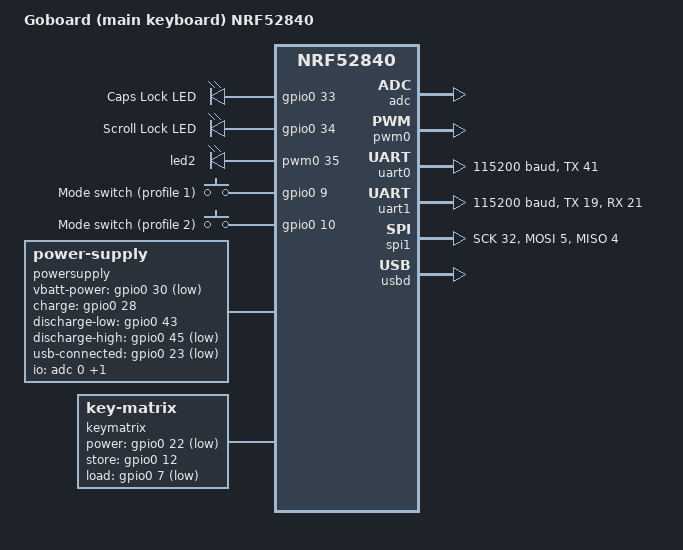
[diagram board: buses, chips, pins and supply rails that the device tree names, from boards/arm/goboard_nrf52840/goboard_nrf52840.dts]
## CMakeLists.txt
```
cmake_minimum_required(VERSION 3.18)

set(BOARD_ROOT ${CMAKE_CURRENT_LIST_DIR})
set(DTS_ROOT ${CMAKE_CURRENT_LIST_DIR})

find_package(Zephyr REQUIRED HINTS $ENV{ZEPHYR_BASE})
project(NONE)

set(CMAKE_CXX_FLAGS "${CMAKE_CXX_FLAGS} -std=c++17")
set(CMAKE_CXX_FLAGS  "${CMAKE_CXX_FLAGS} -Wall -Wextra")

set(SRC
	src/exception.hpp
	src/keys.cpp
	src/keys.hpp
	src/power_supply.cpp
	src/power_supply.hpp
	src/scan_code.hpp
)

if("${BOARD}" MATCHES "native_posix_64")
	# Testing-only files.
	set(SRC
		${SRC}
		src/main_testing.cpp
		src/tests.cpp
		src/tests.hpp
	)
else()
	# Device-only files.
	set(SRC
		${SRC}
		src/bluetooth.cpp
		src/bluetooth.hpp
		src/key_matrix.cpp
		src/key_matrix.hpp
		src/leds.cpp
		src/leds.hpp
		src/main.cpp
		src/mode_switch.cpp
		src/mode_switch.hpp
		src/power_supply_pins.hpp
		src/power_supply_pins.cpp
		src/unifying.hpp
		src/unifying.cpp
		src/unifying_radio.hpp
		src/unifying_radio.cpp
		src/usb.hpp
		src/usb.cpp
	)
endif()

target_sources(app PRIVATE ${SRC})
target_compile_options(app PRIVATE -Wno-missing-field-initializers)
```

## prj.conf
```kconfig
# Runtime

CONFIG_CPLUSPLUS=y
CONFIG_LIB_CPLUSPLUS=y
CONFIG_EXCEPTIONS=y
```

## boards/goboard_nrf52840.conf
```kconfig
# Runtime

CONFIG_NEWLIB_LIBC=y
CONFIG_SYSTEM_WORKQUEUE_STACK_SIZE=2048

# Power management

CONFIG_PM=y
CONFIG_PM_DEVICE=y
CONFIG_PM_DEVICE_IDLE=y

# I/O

CONFIG_GPIO=y
CONFIG_NFCT_PINS_AS_GPIOS=y
CONFIG_PWM=y
CONFIG_LED=y
CONFIG_LED_PWM=y
CONFIG_SPI=y
CONFIG_NRFX_SPI1=y
CONFIG_ADC=y

# Complex I/O

CONFIG_USB=y
CONFIG_USB_DEVICE_SOF=y
CONFIG_USB_DEVICE_HID=y
CONFIG_USB_DEVICE_REMOTE_WAKEUP=y
CONFIG_USB_HID_BOOT_PROTOCOL=y
CONFIG_USB_HID_BOOT_PROTOCOL=y

CONFIG_BT=y
CONFIG_BT_PERIPHERAL=y
# Minimum connection interval: 5ms
CONFIG_BT_PERIPHERAL_PREF_MIN_INT=4
# Maximum connection interval: 15ms
CONFIG_BT_PERIPHERAL_PREF_MIN_INT=12
CONFIG_BT_SMP=y
CONFIG_BT_SMP_SC_ONLY=y
CONFIG_BT_PRIVACY=y
CONFIG_BT_BONDING_REQUIRED=y
CONFIG_BT_BAS=y
CONFIG_BT_DEVICE_APPEARANCE=961
CONFIG_BT_DEVICE_NAME="Goboard"
CONFIG_BT_LL_SW_SPLIT=y
CONFIG_BT_SETTINGS=y

CONFIG_ESB=y

CONFIG_FLASH=y
CONFIG_FLASH_PAGE_LAYOUT=y
CONFIG_FLASH_MAP=y
CONFIG_MPU_ALLOW_FLASH_WRITE=y
CONFIG_NVS=y
CONFIG_SETTINGS=y

# Test VID/PID from pid.codes (https://pid.codes/1209/000A/) - this PID/VID pair
# is not unique and for testing only.
CONFIG_USB_DEVICE_VID=0x1209
CONFIG_USB_DEVICE_PID=0x000A
CONFIG_USB_DEVICE_MANUFACTURER="InstinctiveLlama"
CONFIG_USB_DEVICE_PRODUCT="Goboard"
```

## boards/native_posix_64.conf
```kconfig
# Testing

CONFIG_ZTEST=y
CONFIG_COVERAGE=y
```

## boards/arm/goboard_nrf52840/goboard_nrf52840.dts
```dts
/*
 * Copyright (c) 2017 Linaro Limited
 *
 * SPDX-License-Identifier: Apache-2.0
 */

/dts-v1/;
#include <nordic/nrf52840_qiaa.dtsi>

/ {
	model = "Goboard (main keyboard) NRF52840";
	compatible = "nordic,goboard-main-nrf52840";

	chosen {
		zephyr,console = &uart0;
		zephyr,shell-uart = &uart0;
		zephyr,sram = &sram0;
		zephyr,flash = &flash0;
		zephyr,code-partition = &slot0_partition;
	};

	aliases {
		caps-lock-led = &led0;
		scroll-lock-led = &led1;
		mode-pwm-led = &led2;
		modesw0 = &button0;
		modesw1 = &button1;
	};


	leds {
		compatible = "gpio-leds";
		led0: led_0 {
			gpios = <&gpio0 33 0>;
			label = "Caps Lock LED";
		};
		led1: led_1 {
			gpios = <&gpio0 34 0>;
			label = "Scroll Lock LED";
		};
	};

	pwmleds {
		compatible = "pwm-leds";
		led2: pwm_led_0 {
			pwms = <&pwm0 35>;
		};
	};

	buttons {
		compatible = "gpio-keys";
		button0: button_0 {
			gpios = <&gpio0 9 0>;
			label = "Mode switch (profile 1)";
		};
		button1: button_1 {
			gpios = <&gpio0 10 0>;
			label = "Mode switch (profile 2)";
		};
	};

	powersupply {
		compatible = "power-supply";
		io-channels = <&adc 0>, <&adc 7>;
		vbatt-output-ohms = <100000>;
		vbatt-full-ohms = <(100000 + 100000)>;
		vbatt-power-gpios = <&gpio0 30 GPIO_ACTIVE_LOW>;
		charge-gpios = <&gpio0 28 0>;
		discharge-low-gpios = <&gpio0 43 0>;
		discharge-high-gpios = <&gpio0 45 GPIO_ACTIVE_LOW>;
		usb-connected-gpios = <&gpio0 23 GPIO_ACTIVE_LOW>;
	};

	keymatrix {
		compatible = "key-matrix";
		spi = <&spi1>;
		power-gpios = <&gpio0 22 GPIO_ACTIVE_LOW>;
		store-gpios = <&gpio0 12 0>;
		load-gpios = <&gpio0 7 GPIO_ACTIVE_LOW>;
	};
};

&adc {
	status = "okay";
};

&gpiote {
	status = "okay";
};

&gpio0 {
	status = "okay";
};

&gpio1 {
	status = "okay";
};

&pwm0 {
	status = "okay";
	ch0-pin = <35>;
};

&uart0 {
	compatible = "nordic,nrf-uart";
	current-speed = <115200>;
	status = "okay";
	tx-pin = <41>;
};

&uart1 {
	compatible = "nordic,nrf-uart";
	current-speed = <115200>;
	status = "okay";
	tx-pin = <19>;
	rx-pin = <21>;
};

&spi1 {
	compatible = "nordic,nrf-spi";
	status = "okay";
	sck-pin = <32>;
	mosi-pin = <5>;
	miso-pin = <4>;
};

&flash0 {

	partitions {
		compatible = "fixed-partitions";
		#address-cells = <1>;
		#size-cells = <1>;

		boot_partition: partition@0 {
			label = "mcuboot";
			reg = <0x000000000 0x0000C000>;
		};
		slot0_partition: partition@c000 {
			label = "image-0";
			reg = <0x0000C000 0x00067000>;
		};
		slot1_partition: partition@73000 {
			label = "image-1";
			reg = <0x00073000 0x00067000>;
		};
		scratch_partition: partition@da000 {
			label = "image-scratch";
			reg = <0x000da000 0x0001e000>;
		};

		/*
		 * The flash starting at 0x000f8000 and ending at
		 * 0x000fffff is reserved for use by the application.
		 */

		/*
		 * Storage partition will be used by FCB/LittleFS/NVS
		 * if enabled.
		 */
		storage_partition: partition@f8000 {
			label = "storage";
			reg = <0x000f8000 0x00008000>;
		};
	};
};

&usbd {
	compatible = "nordic,nrf-usbd";
	status = "okay";
};
```

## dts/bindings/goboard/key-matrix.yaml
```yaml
description: |
    Goboard shift-register-based key matrix

compatible: "key-matrix"

include: base.yaml

properties:
    spi:
      type: phandle
      required: true
      description: |
        SPI to which the shift registers are connected.
    power-gpios:
      type: phandle-array
      required: true
      description: |
        GPIO which enables power to the key matrix.
    store-gpios:
      type: phandle-array
      required: true
      description: |
        GPIO which is used to load the row shift register's outputs.
    load-gpios:
      type: phandle-array
      required: true
      description: |
        GPIO which is used to load the column shift register's inputs.
```

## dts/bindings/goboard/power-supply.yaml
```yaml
# Copyright (c) 2019, Peter Bigot Consulting, LLC
# Copyright (c) 2021, Mathias Gottschlag
# SPDX-License-Identifier: Apache-2.0

description: |
    Goboard power supply circuitry

compatible: "power-supply"

include: base.yaml

properties:
    io-channels:
      type: phandle-array
      required: true
      description: |
        Battery voltage - the first array entry is the low-side battery, the
        second is the high-side battery.

    vbatt-output-ohms:
      type: int
      required: true
      description: |
        Resistance of the lower leg of the voltage divider

    vbatt-full-ohms:
      type: int
      required: true
      description: |
        Resistance of the full path through the voltage divider.

        If absent or zero the driver assumes that the upper leg is a
        resistance-based sensor.

    vbatt-power-gpios:
      type: phandle-array
      required: true
      description: |
        Control power to the voltage divider inputs.

        If present the corresponding GPIO must be set to an active level
        to enable the divider input.

    charge-gpios:
      type: phandle-array
      required: true
      description: |
        Charge the batteries.

    discharge-low-gpios:
      type: phandle-array
      required: true
      description: |
        Discharge the first (low, connected to GND) battery.

    discharge-high-gpios:
      type: phandle-array
      required: true
      description: |
        Discharge the second (high, connected to VBATT) battery.

    usb-connected-gpios:
      type: phandle-array
      required: true
      description: |
        Input which can be used to detect whether USB is connected.
```

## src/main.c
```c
/**
 * @mainpage GoBoard USB/Wireless Keyboard
 *
 * This project implements the firmware for the main keyboard PCB. The firmware
 * implements an [USB keyboard](@ref usb) as well as two wireless keyboard
 * configurations, selectable with a [mode switch](@ref mode_switch).
 *
 * See the [list of modules](modules.html) for documentation of the different
 * parts of the firmware.
 */

#include "keys.h"
#include "mode_led.h"
#include "mode_switch.h"
#include "power_supply.h"
#include "usb.h"
#include "unifying.h"

#include "app_scheduler.h"
#include "app_timer.h"
#include "nrf_crypto.h"
#include "nrf_drv_clock.h"
#include "nrf_drv_gpiote.h"
#include "nrf_log.h"
#include "nrf_log_ctrl.h"
#include "nrf_log_default_backends.h"
#include "nrf_pwr_mgmt.h"

#define SCHED_MAX_EVENT_DATA_SIZE APP_TIMER_SCHED_EVENT_DATA_SIZE
#define SCHED_QUEUE_SIZE 20

/* TODO: mode LED */

/*
 * mode LED states:
 * - off: keyboard off
 * - on: keyboard connected or charging
 * - slow blinking: not connected
 * - fast blinking: pairing
 */

static enum mode_switch_mode current_mode;

static void basic_init(void) {
	ret_code_t ret;

	ret = NRF_LOG_INIT(NULL);
	APP_ERROR_CHECK(ret);
	NRF_LOG_DEFAULT_BACKENDS_INIT();

	ret = nrf_drv_clock_init();
	APP_ERROR_CHECK(ret);
	nrf_drv_clock_lfclk_request(NULL);
	while (!nrf_drv_clock_lfclk_is_running()) {}
	nrf_drv_clock_hfclk_request(NULL);
	while (!nrf_drv_clock_hfclk_is_running()) {}

	ret = app_timer_init();
	APP_ERROR_CHECK(ret);

	ret = nrf_pwr_mgmt_init();
	APP_ERROR_CHECK(ret);

	ret = nrf_drv_gpiote_init();
	APP_ERROR_CHECK(ret);

	APP_SCHED_INIT(SCHED_MAX_EVENT_DATA_SIZE, SCHED_QUEUE_SIZE);
}

/**
 * Switches the device to "System OFF" mode.
 *
 * This function does not ensure that all peripherals are in a state where they
 * can wake the system up again.
 */
static void switch_off(void) {
	NRF_LOG_INFO("switching off");
	power_supply_prepare_system_off();
	mode_switch_prepare_system_off();
	mode_led_prepare_system_off();
	nrf_pwr_mgmt_shutdown(NRF_PWR_MGMT_SHUTDOWN_GOTO_SYSOFF);
}

static void reset(void) {
	nrf_pwr_mgmt_shutdown(NRF_PWR_MGMT_SHUTDOWN_RESET);
}

static void check_power_off_reset(void) {
	enum power_supply_mode ps = power_supply_get_mode();
	enum mode_switch_mode mode = mode_switch_get();

	/* we should power off if the battery is low and we are not charging */
	if (ps == POWER_SUPPLY_LOW) {
		switch_off();
	}
	/* we should power off if the mode is off/USB and USB is not connected */
	if (mode == MODE_SWITCH_OFF_USB && !usb_is_connected()) {
		switch_off();
	}
	/* we should reset if the mode changed between USB and bluetooth */
	if (current_mode == MODE_SWITCH_OFF_USB && mode != MODE_SWITCH_OFF_USB) {
		reset();
	}
	if (current_mode != MODE_SWITCH_OFF_USB && mode == MODE_SWITCH_OFF_USB) {
		reset();
	}
}

static void update_mode_led(void) {
	/* TODO: check USB/bluetooth connection and pairing state */
	if (mode_switch_get() == MODE_SWITCH_BT1 ||
			mode_switch_get() == MODE_SWITCH_BT2) {
		mode_led_set(MODE_LED_CONNECTED);
	} else if (power_supply_get_mode() == POWER_SUPPLY_CHARGING) {
		mode_led_set(MODE_LED_CHARGING);
	}

}

static void on_power_supply_state_change(void) {
	check_power_off_reset();

	/* report the new battery charge via bluetooth */
	/* TODO */

	update_mode_led();
}

static void on_mode_switch_change(void) {
	check_power_off_reset();

	/* if we just switched between the two bluetooth device sets, we need to
	 * notify the bluetooth keyboard code */
	/* TODO */

	update_mode_led();
}

/**
 * Main entry point of the firmware.
 */
int main(void) {
	ret_code_t ret;

	basic_init();
	NRF_LOG_INFO("goboard starting");

	/* initialize power supply and mode switch - we need to initialize at
	 * least everything here that is required to wake up again */
	power_supply_init(on_power_supply_state_change);
	mode_switch_init(on_mode_switch_change);
	/* we need the current mode to be valid during check_power_off_reset()
	 * already */
	current_mode = mode_switch_get();

	check_power_off_reset();

	/* initialize everything else */
	mode_led_init();
	update_mode_led();
	keys_init();

	ret = nrf_crypto_init();
	APP_ERROR_CHECK(ret);
	unifying_init();
#if 0
	key_matrix_init();
	/* TODO */

	for (;;) {
		usb_poll();
		app_sched_execute();
		if (NRF_LOG_PROCESS() == false) {
			nrf_pwr_mgmt_run();
		}
	}
#endif
	for (;;) {
		app_sched_execute();
		if (NRF_LOG_PROCESS() == false) {
			nrf_pwr_mgmt_run();
		}
	}
}
```

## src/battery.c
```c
#include "battery.h"

void battery_init(void) {
	/* TODO */
}

int battery_is_low(void) {
	/* TODO */
	return 0;
}

void battery_prepare_system_off(void) {
	/* TODO */
}
```

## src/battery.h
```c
#ifndef BATTERY_H_INCLUDED
#define BATTERY_H_INCLUDED

void battery_init(void);
int battery_is_low(void);
void battery_prepare_system_off(void);

#endif
```

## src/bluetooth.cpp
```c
#include "bluetooth.hpp"

#include "exception.hpp"

#include <bluetooth/bluetooth.h>
#include <bluetooth/hci.h>
#include <bluetooth/conn.h>
#include <bluetooth/gatt.h>
#include <settings/settings.h>

BluetoothKeyboard::BluetoothKeyboard(Keys<KeyMatrix> *keys, Leds *leds):
		keys(keys), leds(leds) {

	// Enable bluetooth.
	if (bt_enable(static_on_bt_ready) != 0) {
		throw InitializationFailed("bt_enable failed");
	}

	bt_conn_cb_register(&conn_callbacks);
	// TODO
}

BluetoothKeyboard::~BluetoothKeyboard() {
	// TODO
}

KeyboardProfile BluetoothKeyboard::get_profile() {
	// TODO
	return PROFILE_1;
}

void BluetoothKeyboard::set_profile(KeyboardProfile profile) {
	// If we are currently advertising, we need to stop.
	// TODO

	// TODO
	(void)profile;
}

void BluetoothKeyboard::static_on_bt_ready(int err) {
	// TODO
	(void)err;

	// We only use one identity for the two profiles. Devices for the
	// inactive profile stay connected. The identity needs to be persistent,
	// so we load it here and, if none was loaded, create a new random
	// identity.
	settings_load();
	size_t addr_count = 0;
	bt_id_get(NULL, &addr_count);
	printk("%d BT addresses\n", addr_count);
	if (addr_count == 0) {
		// TODO: Error checking?
		bt_id_create(NULL, NULL);
	}
	bt_addr_le_t addr = { .type = 0 };
	addr_count = 1;
	bt_id_get(&addr, &addr_count);
	printk("address: %d/%02x:%02x:%02x:%02x:%02x:%02x\n",
	       addr.type,
	       addr.a.val[0],
	       addr.a.val[1],
	       addr.a.val[2],
	       addr.a.val[3],
	       addr.a.val[4],
	       addr.a.val[5]);

	// TODO
}
void BluetoothKeyboard::static_on_connected(struct bt_conn *conn,
                                            uint8_t err) {
	(void)conn;
	(void)err;
	// TODO
}

void BluetoothKeyboard::static_on_disconnected(struct bt_conn *conn,
                                               uint8_t reason) {
	(void)conn;
	(void)reason;
	// TODO
}

void BluetoothKeyboard::static_on_security_changed(struct bt_conn *conn,
                                                   bt_security_t level,
                                                   enum bt_security_err err) {
	(void)conn;
	(void)level;
	(void)err;
	// TODO
}

BluetoothKeyboard *BluetoothKeyboard::instance = NULL;
```

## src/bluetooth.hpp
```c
#ifndef BLUETOOTH_HPP_INCLUDED
#define BLUETOOTH_HPP_INCLUDED

#include "mode_switch.hpp"
#include "key_matrix.hpp"
#include "keys.hpp"

#include <bluetooth/bluetooth.h>
#include <bluetooth/conn.h>

class Leds;

/// Bluetooth HIDS keyboard implementation.
class BluetoothKeyboard {
public:
	BluetoothKeyboard(Keys<KeyMatrix> *keys, Leds *leds);
	~BluetoothKeyboard();

	KeyboardProfile get_profile();
	void set_profile(KeyboardProfile profile);
private:
	static void static_on_bt_ready(int err);
	static void static_on_connected(struct bt_conn *conn,
	                                uint8_t err);
	static void static_on_disconnected(struct bt_conn *conn,
	                                   uint8_t reason);
	static void static_on_security_changed(struct bt_conn *conn,
	                                       bt_security_t level,
	                                       enum bt_security_err err);

	Keys<KeyMatrix> *keys;
	Leds *leds;

	// There can only be one instance of the BT keyboard, and the BT
	// callbacks need a pointer to it.
	static BluetoothKeyboard *instance;

	struct bt_conn_cb conn_callbacks = {
		.connected = static_on_connected,
		.disconnected = static_on_disconnected,
		.security_changed = static_on_security_changed,
	};
};

#endif
```

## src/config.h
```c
/**
 * @defgroup config Keyboard configuration.
 * @addtogroup config
 * Various settings to configure the keyboard's behavior.
 * @{
 */
#ifndef CONFIG_H_INCLUDED
#define CONFIG_H_INCLUDED

#include "mode_switch.h"

/**
 * If 1, the code assumes a simple prototype setup with just one key.
 */
#define CONFIG_TEST_SETUP 0
/**
 * If 1, the code assumes that a numpad can be connected.
 */
#define CONFIG_NUMPAD 1

/**
 * Configuration which is selected by the first switch position.
 */
#define CONFIG_FIRST_PROFILE MODE_SWITCH_UNIFYING1
/**
 * Configuration which is selected by the second switch position.
 */
#define CONFIG_SECOND_PROFILE MODE_SWITCH_BT1

#endif
/**
 * @}
 */
```

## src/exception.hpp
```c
#ifndef EXCEPTION_HPP_INCLUDED
#define EXCEPTION_HPP_INCLUDED

class Exception {
public:
	virtual ~Exception() {}

	virtual const char *what() = 0;
};

class InvalidState: Exception {
public:
	InvalidState(const char *message): _message(message) {}

	virtual const char *what() {
		return _message;
	}
private:
	const char *_message;
};

class InitializationFailed: Exception {
public:
	InitializationFailed(const char *message): _message(message) {}

	virtual const char *what() {
		return _message;
	}
private:
	const char *_message;
};

class Unimplemented: Exception {
public:
	Unimplemented(const char *message): _message(message) {}

	virtual const char *what() {
		return _message;
	}
private:
	const char *_message;
};

class HardwareError: Exception {
public:
	HardwareError(const char *message): _message(message) {}

	virtual const char *what() {
		return _message;
	}
private:
	const char *_message;
};

#endif
```

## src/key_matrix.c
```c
#include "key_matrix.h"

#include "nrf_drv_timer.h"
#include "nrf_gpio.h"
#include "nrf_ringbuf.h"
#include "app_usbd_hid_kbd.h"

#define KEY_POLL_INTERVAL_MS 1

#define TEST_KEY NRF_GPIO_PIN_MAP(1, 2)
static int test_key_state = 0;

const nrf_drv_timer_t KEY_TIMER = NRF_DRV_TIMER_INSTANCE(0);
NRF_RINGBUF_DEF(key_events, 512);

static void key_matrix_poll(void) {
	int new_state = nrf_gpio_pin_read(TEST_KEY);

	CRITICAL_REGION_ENTER();
	if (new_state != test_key_state) {
		/* write the data to the ring buffer */
		const struct key_event event = {
			.modifiers = 0,
			.key = APP_USBD_HID_KBD_X,
			.pressed = new_state,
		};
		size_t length = sizeof(event);
		nrf_ringbuf_cpy_put(&key_events, (const unsigned char*)&event, &length);
		if (length == sizeof(event)) {
			/* only overwrite the global state variable if writing
			 * to the buffer was successful */
			test_key_state = new_state;
		} else if (length != 0) {
			/* this should never happen, all sizes are powers of
			 * two! */
			APP_ERROR_CHECK_BOOL(0);
		}
	}
	CRITICAL_REGION_EXIT();
}

static void key_timer_handler(nrf_timer_event_t event_type, void *context) {
	(void)context;
	switch (event_type) {
		case NRF_TIMER_EVENT_COMPARE0:
			key_matrix_poll();
			break;
		default:
			break;
	}
}

void key_matrix_init(void) {
	ret_code_t ret;
	nrf_drv_timer_config_t timer_cfg = NRF_DRV_TIMER_DEFAULT_CONFIG;
	uint32_t time_ticks;

	nrf_ringbuf_init(&key_events);

	/* initialize SPI */
	/* TODO */
	nrf_gpio_cfg_input(TEST_KEY, NRF_GPIO_PIN_PULLUP);

	/* we want to poll the key matrix periodically using a timer */
	/*ret = nrf_drv_timer_init(&KEY_TIMER, &timer_cfg, key_timer_handler);
	APP_ERROR_CHECK(ret);

	time_ticks = nrf_drv_timer_ms_to_ticks(&KEY_TIMER, KEY_POLL_INTERVAL_MS);
	nrf_drv_timer_extended_compare(&KEY_TIMER,
	                               NRF_TIMER_CC_CHANNEL0,
	                               time_ticks,
	                               NRF_TIMER_SHORT_COMPARE0_CLEAR_MASK,
	                               true);

	nrf_drv_timer_enable(&KEY_TIMER);*/
}

size_t key_matrix_read(struct key_event *buffer, size_t length) {
	length = length * sizeof(struct key_event);
	nrf_ringbuf_cpy_get(&key_events, (unsigned char*)buffer, &length);
	return length / sizeof(struct key_event);
}
void key_matrix_reset(void) {
	unsigned char buffer[8];
	size_t length;

	CRITICAL_REGION_ENTER();

	/* reset the assumed keyboard state so that we get new events for keys
	 * that are already pressed */
	/* TODO */
	test_key_state = 0;

	/* empty the ring buffer to discard outdated events */
	for (;;) {
		length = sizeof(buffer);
		nrf_ringbuf_cpy_get(&key_events, buffer, &length);
		if (length == 0) {
			break;
		}
	}

	CRITICAL_REGION_EXIT();
}
```

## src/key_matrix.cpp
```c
#include "key_matrix.hpp"

#include "exception.hpp"

#define KEY_MATRIX DT_PATH(keymatrix)

#define SPI DT_PHANDLE(KEY_MATRIX, spi)
#define SPI_LABEL DT_PROP(SPI, label)

#define POWER_LABEL DT_GPIO_LABEL(KEY_MATRIX, power_gpios)
#define POWER_PIN DT_GPIO_PIN(KEY_MATRIX, power_gpios)
#define POWER_FLAGS DT_GPIO_FLAGS(KEY_MATRIX, power_gpios)

#define LOAD_LABEL DT_GPIO_LABEL(KEY_MATRIX, load_gpios)
#define LOAD_PIN DT_GPIO_PIN(KEY_MATRIX, load_gpios)
#define LOAD_FLAGS DT_GPIO_FLAGS(KEY_MATRIX, load_gpios)

#define STORE_LABEL DT_GPIO_LABEL(KEY_MATRIX, store_gpios)
#define STORE_PIN DT_GPIO_PIN(KEY_MATRIX, store_gpios)
#define STORE_FLAGS DT_GPIO_FLAGS(KEY_MATRIX, store_gpios)

KeyMatrix::KeyMatrix() {
	// Initialize the GPIOs.
	power_gpio = init_output_gpio(POWER_LABEL,
	                              POWER_PIN,
	                              POWER_FLAGS);
	gpio_pin_set(power_gpio, POWER_PIN, false);
	load_gpio = init_output_gpio(LOAD_LABEL,
	                             LOAD_PIN,
	                             LOAD_FLAGS);
	gpio_pin_set(load_gpio, LOAD_PIN, false);
	store_gpio = init_output_gpio(STORE_LABEL,
	                             STORE_PIN,
	                             STORE_FLAGS);
	gpio_pin_set(store_gpio, STORE_PIN, false);

	// Initialize SPI.
	spi_dev = device_get_binding(SPI_LABEL);
	if (spi_dev == NULL) {
		throw InitializationFailed("SPI not found");
	}
}

KeyMatrix::~KeyMatrix() {
	gpio_pin_set(load_gpio, LOAD_PIN, false);
	gpio_pin_set(store_gpio, STORE_PIN, false);
}


void KeyMatrix::enable() {
	gpio_pin_set(power_gpio, POWER_PIN, true);
	// We need to wait for some time to make sure that all the capacitance
	// is charged.
	// TODO: Correct time constant?
	k_sleep(K_MSEC(2));
}

void KeyMatrix::disable() {
	gpio_pin_set(power_gpio, POWER_PIN, false);
}

void KeyMatrix::select_row() {
	gpio_pin_set(store_gpio, STORE_PIN, true);
	k_sleep(K_USEC(1));
	gpio_pin_set(store_gpio, STORE_PIN, false);
	k_sleep(K_USEC(1));
}

void KeyMatrix::load_input() {
	gpio_pin_set(load_gpio, LOAD_PIN, true);
	k_sleep(K_USEC(1));
	gpio_pin_set(load_gpio, LOAD_PIN, false);
	k_sleep(K_USEC(1));
}

uint16_t KeyMatrix::transfer(uint8_t out) {
	uint16_t in = 0;
	struct spi_buf buf = {
		.buf = &in,
		.len = sizeof(in),
	};
	struct spi_buf_set buf_set = {
		.buffers = &buf,
		.count = 1,
	};
	if (spi_read(spi_dev, &READ_SPI_CFG, &buf_set) != 0) {
		throw HardwareError("spi_read failed");
	}
	// The row selection lines are active-low.
	out = ~out << 1;
	buf.buf = &out;
	buf.len = sizeof(out);
	if (spi_write(spi_dev, &WRITE_SPI_CFG, &buf_set) != 0) {
		throw HardwareError("spi_write failed");
	}
	// The keys are active-low.
	in = ~in;
	return (in >> 8) | (in << 8);
}

// TODO: This code should be deduplicated, a copy can be found in
// power_supply_pins.cpp.
const struct device *KeyMatrix::init_output_gpio(const char *label,
                                                 gpio_pin_t pin,
                                                 gpio_flags_t flags) {
	const struct device *gpio = device_get_binding(label);
	if (gpio == NULL) {
		throw InitializationFailed("GPIO not found");
	}
	if (gpio_pin_configure(gpio, pin,
	                       GPIO_OUTPUT_INACTIVE | flags) != 0) {
		throw InitializationFailed("gpio_pin_configure failed");
	}

	return gpio;
}

const struct spi_config KeyMatrix::READ_SPI_CFG = {
	.frequency = 2000000,
	.operation = SPI_OP_MODE_MASTER |
	             SPI_MODE_CPOL |
	             SPI_TRANSFER_MSB |
	             SPI_WORD_SET(8),
	.slave = 0,
	.cs = NULL,
};

const struct spi_config KeyMatrix::WRITE_SPI_CFG = {
	.frequency = 2000000,
	.operation = SPI_OP_MODE_MASTER |
	             SPI_MODE_CPOL |
	             SPI_MODE_CPHA |
	             SPI_TRANSFER_MSB |
	             SPI_WORD_SET(8),
	.slave = 0,
	.cs = NULL,
};
```

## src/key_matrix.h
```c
/**
 * @defgroup key_matrix Key Matrix
 * @addtogroup key_matrix
 * Key matrix polling and debouncing.
 * @{
 */
#ifndef KEY_MATRIX_H_INCLUDED
#define KEY_MATRIX_H_INCLUDED

#include <stdint.h>
#include <stddef.h>


/**
 * Single key event.
 *
 * The buffer code in key_matrix.c assumes that the size of this struct is a
 * power of two.
 */
struct key_event {
	uint8_t modifiers;
	uint8_t key;
	uint16_t pressed;
};

void key_matrix_init(void);

size_t key_matrix_read(struct key_event *buffer, size_t length);
void key_matrix_reset(void);


#endif
/**
 * @}
 */
```

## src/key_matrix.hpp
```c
#ifndef KEY_MATRIX_HPP_INCLUDED
#define KEY_MATRIX_HPP_INCLUDED

#include <stdint.h>

#include <drivers/gpio.h>
#include <drivers/spi.h>

/// Class which reads the key matrix via shift registers.
class KeyMatrix {
public:
	KeyMatrix();
	~KeyMatrix();

	/// Enables the key matrix.
	///
	/// This function enables power to the key matrix. The following core
	/// must not assume any specific (serial) value of the shift registers
	/// and should immediately call `transfer()` and `select_row()` to
	/// select zero or one rows.
	void enable();

	/// Disables the key matrix and removes power from the shift registers.
	void disable();

	/// Serial-to-parallel operation on the row selection shift register.
	void select_row();

	/// Parallel-to-serial operation on the input shift registers.
	void load_input();

	/// SPI operation which writes the specified data into the row selection
	/// shift register and returns the data from the input shift registers.
	uint16_t transfer(uint8_t out);
private:
	static const struct device *init_output_gpio(const char *label,
	                                             gpio_pin_t pin,
	                                             gpio_flags_t flags);

	const struct device *power_gpio;
	const struct device *load_gpio;
	const struct device *store_gpio;

	const struct device *spi_dev;
	static const struct spi_config READ_SPI_CFG;
	static const struct spi_config WRITE_SPI_CFG;
};

#endif
```

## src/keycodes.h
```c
/**
 * @defgroup keycodes Key Codes
 * @addtogroup keycodes
 * Keycodes for USB HID.
 * @{
 */
#ifndef KEYCODES_H_INCLUDED
#define KEYCODES_H_INCLUDED

/**
 * Modifier bits in the HID modified byte.
 */
enum modifier_key {
	/** Left control key. */
	KEY_MOD_LCTRL = 0x1,
	/** Left shift key. */
	KEY_MOD_LSHIFT = 0x2,
	/** Left alt key. */
	KEY_MOD_LALT = 0x4,
	/** Left meta key. */
	KEY_MOD_LMETA = 0x8,
	/** Right control key. */
	KEY_MOD_RCTRL = 0x10,
	/** Right shift key. */
	KEY_MOD_RSHIFT = 0x20,
	/** Right alt key. */
	KEY_MOD_RALT = 0x40,
	/** Right meta key. */
	KEY_MOD_RMETA = 0x80
};

/**
 * HID key scan codes.
 */
enum key_code {
	KEY_A = 0x4,
	KEY_B = 0x5,
	KEY_C = 0x6,
	KEY_D = 0x7,
	KEY_E = 0x8,
	KEY_F = 0x9,
	KEY_G = 0xa,
	KEY_H = 0xb,
	KEY_I = 0xc,
	KEY_J = 0xd,
	KEY_K = 0xe,
	KEY_L = 0xf,
	KEY_M = 0x10,
	KEY_N = 0x11,
	KEY_O = 0x12,
	KEY_P = 0x13,
	KEY_Q = 0x14,
	KEY_R = 0x15,
	KEY_S = 0x16,
	KEY_T = 0x17,
	KEY_U = 0x18,
	KEY_V = 0x19,
	KEY_W = 0x1a,
	KEY_X = 0x1b,
	KEY_Y = 0x1c,
	KEY_Z = 0x1d,
	KEY_1 = 0x1e,
	KEY_2 = 0x1f,
	KEY_3 = 0x20,
	KEY_4 = 0x21,
	KEY_5 = 0x22,
	KEY_6 = 0x23,
	KEY_7 = 0x24,
	KEY_8 = 0x25,
	KEY_9 = 0x26,
	KEY_0 = 0x27,
	KEY_RETURN = 0x28,
	KEY_ESCAPE = 0x29,
	KEY_BACKSPACE = 0x2a,
	KEY_TAB = 0x2b,
	KEY_SPACE = 0x2c,
	KEY_MINUS = 0x2d,
	KEY_EQUAL = 0x2e,
	KEY_LEFT_BRACKET = 0x2f,
	KEY_RIGHT_BRACKET = 0x30,
	KEY_BACKSLASH = 0x31,
	KEY_INT2 = 0x32, /* # and ~ */
	KEY_SEMICOLON = 0x33,
	KEY_QUOTE = 0x34,
	KEY_GRAVE = 0x35,
	KEY_COMMA = 0x36,
	KEY_PERIOD = 0x37,
	KEY_SLASH = 0x38,
	KEY_CAPS_LOCK = 0x39,
	KEY_F1 = 0x3a,
	KEY_F2 = 0x3b,
	KEY_F3 = 0x3c,
	KEY_F4 = 0x3d,
	KEY_F5 = 0x3e,
	KEY_F6 = 0x3f,
	KEY_F7 = 0x40,
	KEY_F8 = 0x41,
	KEY_F9 = 0x42,
	KEY_F10 = 0x43,
	KEY_F11 = 0x44,
	KEY_F12 = 0x45,
	KEY_PRINT = 0x46,
	KEY_SCROLL_LOCK = 0x47,
	KEY_PAUSE = 0x48,
	KEY_INSERT = 0x49,
	KEY_HOME = 0x4a,
	KEY_PAGE_UP = 0x4b,
	KEY_DELETE = 0x4c,
	KEY_END = 0x4d,
	KEY_PAGE_DOWN = 0x4e,
	KEY_RIGHT = 0x4f,
	KEY_LEFT = 0x50,
	KEY_DOWN = 0x51,
	KEY_UP = 0x52,
	KEY_NUM_LOCK = 0x53,
	KEY_KP_SLASH = 0x54,
	KEY_KP_ASTERISK = 0x55,
	KEY_KP_MINUS = 0x56,
	KEY_KP_PLUS = 0x57,
	KEY_KP_ENTER = 0x58,
	KEY_KP_1 = 0x59,
	KEY_KP_2 = 0x5a,
	KEY_KP_3 = 0x5b,
	KEY_KP_4 = 0x5c,
	KEY_KP_5 = 0x5d,
	KEY_KP_6 = 0x5e,
	KEY_KP_7 = 0x5f,
	KEY_KP_8 = 0x60,
	KEY_KP_9 = 0x61,
	KEY_KP_0 = 0x62,
	KEY_KP_PERIOD = 0x63,
	KEY_KP_INT1 = 0x64,
	KEY_APPLICATION = 0x65,
	KEY_POWER = 0x66,
	KEY_KP_EQUALS = 0x67,
	KEY_F13 = 0x68,
	KEY_F14 = 0x69,
	KEY_F15 = 0x6a,
	KEY_F16 = 0x6b,
	KEY_F17 = 0x6c,
	KEY_F18 = 0x6d,
	KEY_F19 = 0x6e,
	KEY_F20 = 0x6f,
	KEY_F21 = 0x70,
	KEY_F22 = 0x71,
	KEY_F23 = 0x72,
	KEY_F24 = 0x73,
	KEY_EXECUTE = 0x74,
	KEY_HELP = 0x75,
	KEY_UNDO = 0x7a,
	KEY_CUT = 0x7b,
	KEY_COPY = 0x7c,
	KEY_PASTE = 0x7d,
	KEY_MUTE = 0x7f,
	KEY_VOLUME_UP = 0x80,
	KEY_VOLUME_DOWN = 0x81,

	KEY_LCTRL = 0xe0,
	KEY_LSHIFT = 0xe1,
	KEY_LALT = 0xe2,
	KEY_LMETA = 0xe3,
	KEY_RCTRL = 0xe4,
	KEY_RSHIFT = 0xe5,
	KEY_RALT = 0xe6,
	KEY_RMETA = 0xe7,
};

#endif
/**
 * @}
 */
```

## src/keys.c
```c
#include "keys.h"

#include "app_timer.h"
#include "nrf_gpio.h"
#include "nrf_drv_spi.h"

#include <string.h>

#ifdef TEST_SETUP

#define TEST_KEY NRF_GPIO_PIN_MAP(1, 2)

#else

#define SPI_SCK_PIN NRF_GPIO_PIN_MAP(1, 0)
#define SPI_MISO_PIN NRF_GPIO_PIN_MAP(0, 4)
#define SPI_MOSI_PIN NRF_GPIO_PIN_MAP(0, 5)
#define LOAD_PIN NRF_GPIO_PIN_MAP(0, 7)
#define STORE_PIN NRF_GPIO_PIN_MAP(0, 12)

#define NUMPAD_RX_PIN NRF_GPIO_PIN_MAP(0, 21)
#define NUMPAD_TX_PIN NRF_GPIO_PIN_MAP(0, 19)
#define NUMPAD_ID_PIN NRF_GPIO_PIN_MAP(1, 4)

#define ENABLE_KEY_POWER_PIN NRF_GPIO_PIN_MAP(0, 22)
#define ENABLE_NUMPAD_POWER_PIN NRF_GPIO_PIN_MAP(1, 4)

/**
 * SPI for the key matrix shift registers.
 */
static const nrf_drv_spi_t spi = NRF_DRV_SPI_INSTANCE(0);

#endif

/**
 * Timer for periodic sampling of the numpad ID line.
 */
APP_TIMER_DEF(numpad_id_timer);

static struct key_bitmap key_state = EMPTY_KEY_BITMAP;

void key_bitmap_set(struct key_bitmap *bitmap, int scancode) {
	uint32_t word = scancode >> 5;
	uint32_t bit = scancode & 0x1f;
	bitmap->keys[word] |= 1 << bit;
}

void key_bitmap_clear(struct key_bitmap *bitmap, int scancode) {
	uint32_t word = scancode >> 5;
	uint32_t bit = scancode & 0x1f;
	bitmap->keys[word] &= ~(1 << bit);
}

void legacy_key_list_from_bitmap(const struct key_bitmap *bitmap,
                                 struct legacy_key_list *list) {
	/* TODO */
}

static void numpad_id_timer_handler(void *context) {
	/* TODO */
}

void keys_init(void) {
	ret_code_t ret;

	ret = app_timer_create(&numpad_id_timer,
	                       APP_TIMER_MODE_REPEATED,
	                       numpad_id_timer_handler);
	APP_ERROR_CHECK(ret);

	/* TODO */
}

void keys_activate(void) {
	/* TODO */
}

void keys_deactivate(void) {
	/* TODO */
}

void keys_activate_numpad(void) {
	/* TODO */
}

void keys_deactivate_numpad(void) {
	/* TODO */
}

void keys_set_num_lock_led(bool state) {
	/* TODO */
}

void keys_get_state(struct key_bitmap *bitmap) {
	memcpy(bitmap, &key_state, sizeof(key_state));
}

bool keys_poll(bool pause) {
	struct key_bitmap previous_key_state = key_state;

#ifdef TEST_SETUP
	bool test_key_state = nrf_gpio_pin_read(TEST_KEY);
	if (test_key_state) {
		key_bitmap_set(&key_state, KEY_K);
	} else {
		key_bitmap_clear(&key_state, KEY_K);
	}
	/* TODO: debouncing, pause */
#else
	/* TODO */
#endif
	return memcmp(&key_state, &previous_key_state, sizeof(key_state)) != 0;
}

void keys_prepare_system_off(void) {
	/* TODO */
}
```
